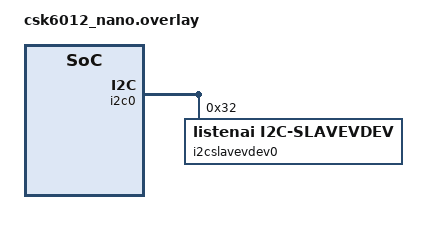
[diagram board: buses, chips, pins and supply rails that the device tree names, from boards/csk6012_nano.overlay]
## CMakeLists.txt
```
# SPDX-License-Identifier: Apache-2.0

cmake_minimum_required(VERSION 3.20.0)

set(SUPPORT_BOARDS csk6012_nano csk6011a_nano csk6_duomotai_devkit)
if(NOT ${BOARD} IN_LIST SUPPORT_BOARDS)
    message("Please choose one of the following boards:")
    foreach(item ${SUPPORT_BOARDS})
        message(STATUS ${item})
    endforeach()
    message(FATAL_ERROR "\nThe project does not support the ${BOARD}")
endif()

find_package(Zephyr REQUIRED HINTS $ENV{ZEPHYR_BASE})
project(i2c_slave_vdev)

# add_subdirectory_ifdef(CONFIG_I2C_SLAVE_VIRTUAL_DEVICE			common/slave)
# FILE(GLOB app_sources src/*.c)

zephyr_include_directories(common/slave)
FILE(GLOB app_sources src/*.c common/slave/i2c_slave_vdev.c)

target_sources(app PRIVATE ${app_sources})
```

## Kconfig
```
# SPDX-License-Identifier: Apache-2.0

mainmenu "I2C Slave API Test"

source "Kconfig.zephyr"

rsource "common/slave/Kconfig"
```

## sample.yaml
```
tests:
  sample.board.csk6.driver.i2c.i2c_slave_vdev:
    platform_allow: csk6011a_nano csk6_duomotai_devkit
    tags: csk6
    harness: console
    harness_config:
      type: one_line
      ordered: true
      regex:
        - "I2C Addr:"
```

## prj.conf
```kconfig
CONFIG_LOG=y
CONFIG_BOOT_BANNER=y

CONFIG_STDOUT_CONSOLE=y
CONFIG_PRINTK=y

CONFIG_SHELL=y
CONFIG_SHELL_LOG_LEVEL_INF=y

CONFIG_I2C=y
CONFIG_I2C_LOG_LEVEL_INF=y
CONFIG_I2C_SLAVE=y
CONFIG_I2C_SLAVE_INIT_PRIORITY=60
CONFIG_I2C_SLAVE_VIRTUAL_DEVICE=y
```

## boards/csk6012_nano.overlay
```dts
/*
 * Copyright (c) 2023 Anhui(Shenzhen) Listenai Co., Ltd.
 *
 * SPDX-License-Identifier: Apache-2.0
 */
&pinctrl {
	/* I2C alternate function */
	pinctrl_i2c0_scl_default: i2c0_scl_default{
		pinctrls = <I2C0_SCL_GPIOA_10>;
	};

	pinctrl_i2c0_sda_default: i2c0_sda_default{
		pinctrls = <I2C0_SDA_GPIOA_11>;
	};
};

&i2c0 {
	status = "okay";
	pinctrl-0 = <&pinctrl_i2c0_scl_default &pinctrl_i2c0_sda_default>;
	pinctrl-names = "default";

	i2cslavevdev0: i2cslavevdev@32 {
		compatible = "listenai,i2c-slavevdev";
		reg = <0x32>;
		size = <256>;
	};
};
```

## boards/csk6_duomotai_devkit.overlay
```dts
/*
 * Copyright (c) 2023 Anhui(Shenzhen) Listenai Co., Ltd.
 *
 * SPDX-License-Identifier: Apache-2.0
 */
 &pinctrl {
	/* I2C alternate function */
	pinctrl_i2c0_scl_default: i2c0_scl_default{
		pinctrls = <I2C0_SCL_GPIOA_10>;
	};

	pinctrl_i2c0_sda_default: i2c0_sda_default{
		pinctrls = <I2C0_SDA_GPIOA_11>;
	};
};

&i2c0 {
	status = "okay";
	pinctrl-0 = <&pinctrl_i2c0_scl_default &pinctrl_i2c0_sda_default>;
	pinctrl-names = "default";

	i2cslavevdev0: i2cslavevdev@32 {
		compatible = "listenai,i2c-slavevdev";
		reg = <0x32>;
		size = <256>;
	};
};
```

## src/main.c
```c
/*
 * Copyright (c) 2023 Anhui(Shenzhen) Listenai Co., Ltd.
 *
 * SPDX-License-Identifier: Apache-2.0
 */

#include <errno.h>
#include <string.h>

#include <zephyr/kernel.h>
#include <zephyr/device.h>
#include <stdio.h>
#include <zephyr/sys/util.h>

#include <zephyr/drivers/i2c.h>
#include <i2c_slave_vdev.h>

#include <zephyr/logging/log.h>
LOG_MODULE_REGISTER(vdev_demo, LOG_LEVEL_INF);

#define NODE_VIRTUAL_DEV DT_INST(0, listenai_i2c_slavevdev)

#define TEST_DATA_SIZE 256
static uint8_t i2_vdev_0_data[TEST_DATA_SIZE] = "0123456789abcdefghij";

const struct device *i2_vdev_0 = NULL;
void i2_slave_vdev_init(void)
{
	int ret;

	i2_vdev_0 = DEVICE_DT_GET(NODE_VIRTUAL_DEV);
	int addr_0 = DT_REG_ADDR(NODE_VIRTUAL_DEV);

	if (i2_vdev_0 == NULL) {
		LOG_ERR("I2C Slave Virtual device not found \n");
		return;
	}

	LOG_INF("I2C Addr: 0x%X", addr_0);

	int i = 0;
	for (i = 0; i < TEST_DATA_SIZE; i++) {
		i2_vdev_0_data[i] = i;
	}
	ret = slave_vdev_program(i2_vdev_0, i2_vdev_0_data, TEST_DATA_SIZE);

	/* Attach each i2_vdev to its owning bus as a slave device. */
	ret = i2c_target_driver_register(i2_vdev_0);
}

int vdev_handler(const struct device *dev, const uint32_t event, const struct i2c_msg msg)
{
	// Slave Virtual Device USER Handler
	LOG_DBG("Event:0x%X", event);
	if (event & SLAVE_VDEV_EVENT_READ_DONE) {
		printk("I2C Transmit data length:%d, Flag: 0x%X\n", msg.len, msg.flags);
		LOG_HEXDUMP_DBG(msg.buf, msg.len, "I2C Transmit data");
	}

	if (event & SLAVE_VDEV_EVENT_WRITE_DONE) {
		printk("I2C Receive data length:%d, Flag: 0x%X\n", msg.len, msg.flags);
		LOG_HEXDUMP_DBG(msg.buf, msg.len, "I2C Receive data");
	}
	return 0;
}

int main(void)
{
	i2_slave_vdev_init();

	slave_vdev_event_handler_register(i2_vdev_0, &vdev_handler);
	start_slave_vdev_handler_task(i2_vdev_0);
	while (1) {
		k_msleep(2000);
	}

	return 0;
}
```
